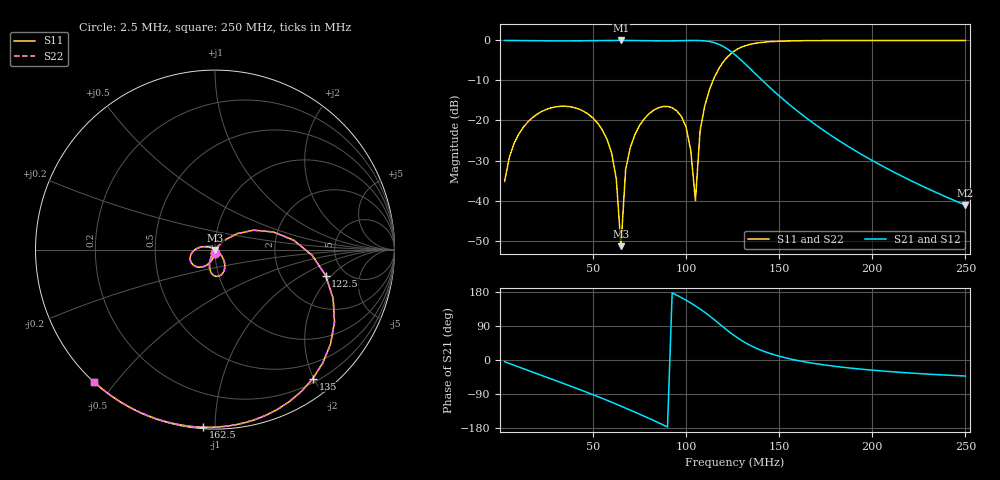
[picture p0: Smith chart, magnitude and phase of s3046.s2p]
!2-port S-parameter file
!Title: test for scattering parameters
!Generated by ngspice at Mon Jun 29 16:30:10  2026
# Hz S RI R 50
!freq  ReS11  ImS11  ReS21  ImS21  ReS12  ImS12  ReS22  ImS22
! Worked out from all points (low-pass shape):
!   100 points, 2.5 MHz to 250 MHz, reference 50 ohm
!   highest |S21| = 0.00 dB at 65 MHz (marker M1); lowest = -41.2 dB at 250 MHz (marker M2)
!   |S21| within 3 dB of the highest: start of sweep to 124.7 MHz
!   lowest |S11| = -51.4 dB at 65 MHz (marker M3), VSWR 1.01, Z = 50.2 - j0.141 ohm
!   |S11| at or under -10 dB: start of sweep to 114.5 MHz
!   |S22| runs from -51.4 to 0.0 dB; largest |S21 - S12| = 0
!   S11 on the Smith chart (normalised r, x): 2.5 MHz: 1.00, -0.03; 122.5 MHz: 3.57, -1.72; 135 MHz: 0.26, -1.99; 162.5 MHz: 0.01, -0.94; 250 MHz: 0.00, -0.44
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2500000  -0.00136 -0.0173  0.9967 -0.0796  0.9967 -0.0796  -0.00136 -0.0173
7500000  -0.0121 -0.0496  0.9703 -0.2363  0.9703 -0.2363  -0.0121 -0.0496
1.75e7  -0.0574 -0.0924  0.8443 -0.5246  0.8443 -0.5246  -0.0574 -0.0924
4.5e7  -0.129 -0.018  0.1369 -0.982  0.1369 -0.982  -0.129 -0.018
6e7  -0.0363 0.0142  -0.3645 -0.9303  -0.3645 -0.9303  -0.0363 0.0142
6.25e7  -0.0166 0.00828  -0.4462 -0.8947  -0.4462 -0.8947  -0.0166 0.00828
6.5e7  0.00229 -0.0014  -0.5252 -0.851  -0.5252 -0.851  0.00229 -0.0014
6.75e7  0.0194 -0.0146  -0.6005 -0.7993  -0.6005 -0.7993  0.0194 -0.0146
7e7  0.0339 -0.0308  -0.6711 -0.7399  -0.6711 -0.7399  0.0339 -0.0308
8.5e7  0.0369 -0.1391  -0.9566 -0.2533  -0.9566 -0.2533  0.0369 -0.1391
1e8  -0.0312 -0.076  -0.9216 0.3792  -0.9216 0.3792  -0.0312 -0.076
1.025e8  -0.0207 -0.0365  -0.8691 0.4929  -0.8691 0.4929  -0.0207 -0.0365
1.05e8  0.00603 0.00791  -0.7963 0.6048  -0.7963 0.6048  0.00603 0.00791
1.075e8  0.0532 0.0524  -0.7002 0.71  -0.7002 0.71  0.0532 0.0524
1.1e8  0.1234 0.0892  -0.5789 0.801  -0.5789 0.801  0.1234 0.0892
1.225e8  0.6168 -0.1445  0.1764 0.7529  0.1764 0.7529  0.6168 -0.1445
1.275e8  0.6657 -0.4039  0.325 0.5355  0.325 0.5355  0.6657 -0.4039
1.35e8  0.5452 -0.7185  0.3426 0.26  0.3426 0.26  0.5452 -0.7185
1.625e8  -0.0645 -0.99  0.1168 -0.00761  0.1168 -0.00761  -0.0645 -0.99
1.675e8  -0.1382 -0.9847  0.0948 -0.0133  0.0948 -0.0133  -0.1382 -0.9847
2.1e8  -0.5107 -0.8582  0.0203 -0.0121  0.0203 -0.0121  -0.5107 -0.8582
2.5e8  -0.6717 -0.7393  0.00648 -0.00589  0.00648 -0.00589  -0.6717 -0.7393
